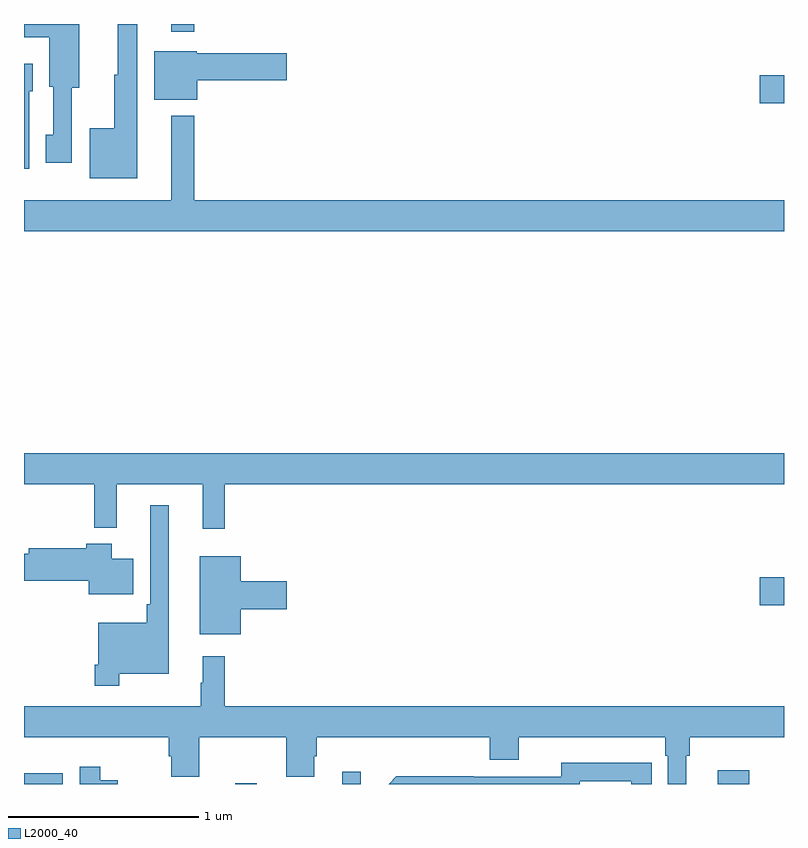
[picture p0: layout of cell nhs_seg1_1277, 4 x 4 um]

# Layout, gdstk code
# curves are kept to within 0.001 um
import gdstk
lib = gdstk.Library(unit=1e-6, precision=1e-09)
def R(c, l, rs):  # rectangles x0, y0, x1, y1
    for r in rs: c.add(gdstk.rectangle(r[:2], r[2:], *l))
def P(c, l, *ps):  # polygons
    for p in ps: c.add(gdstk.Polygon(p, *l))
L2000_40 = (2000, 40)

nhs_seg1_1277 = lib.new_cell('nhs_seg1_1277')
R(nhs_seg1_1277, L2000_40, [(181,506.199,181.203,506.256), (182.113,506.199,182.224,506.203), (182.675,506.199,182.772,506.263), (184.652,506.199,184.816,506.272), (184.872,507.14,185,507.287), (184.872,509.783,185,509.93), (181.775,510.159,181.897,510.199)])
P(nhs_seg1_1277, L2000_40, [(181.251,509.864),(181.291,509.864),(181.291,510.199),(181,510.199),(181,510.128),(181.133,510.128),(181.133,509.868),(181.155,509.868),(181.155,509.617),(181.115,509.617),(181.115,509.469),(181.251,509.469)],
  [(181.597,510.199),(181.493,510.199),(181.493,509.931),(181.475,509.931),(181.475,509.65),(181.346,509.65),(181.346,509.387),(181.597,509.387)],
  [(181.912,509.903),(182.383,509.903),(182.383,510.045),(181.908,510.045),(181.908,510.055),(181.685,510.055),(181.685,509.801),(181.912,509.801)],
  [(181.027,509.844),(181.045,509.844),(181.045,509.989),(181,509.989),(181,509.436),(181.027,509.436)],
  [(185,509.272),(181.897,509.272),(181.897,509.716),(181.775,509.716),(181.775,509.272),(181,509.272),(181,509.108),(185,509.108)],
  [(182.057,507.776),(185,507.776),(185,507.94),(181,507.94),(181,507.776),(181.369,507.776),(181.369,507.548),(181.487,507.548),(181.487,507.776),(181.94,507.776),(181.94,507.543),(182.057,507.543)],
  [(181.501,506.78),(181.762,506.78),(181.762,507.667),(181.665,507.667),(181.665,507.145),(181.645,507.145),(181.645,507.049),(181.392,507.049),(181.392,506.827),(181.372,506.827),(181.372,506.715),(181.501,506.715)],
  [(181.576,507.385),(181.462,507.385),(181.462,507.463),(181.328,507.463),(181.328,507.441),(181.025,507.441),(181.025,507.411),(181,507.411),(181,507.269),(181.34,507.269),(181.34,507.197),(181.576,507.197)],
  [(182.14,507.119),(182.383,507.119),(182.383,507.266),(182.14,507.266),(182.14,507.397),(181.925,507.397),(181.925,506.987),(182.14,506.987)],
  [(184.486,506.348),(184.505,506.348),(184.505,506.444),(185,506.444),(185,506.608),(182.057,506.608),(182.057,506.872),(181.94,506.872),(181.94,506.732),(181.929,506.732),(181.929,506.608),(181,506.608),(181,506.444),(181.763,506.444),(181.763,506.346),(181.775,506.346),(181.775,506.236),(181.923,506.236),(181.923,506.444),(182.38,506.444),(182.38,506.236),(182.527,506.236),(182.527,506.346),(182.54,506.346),(182.54,506.444),(183.452,506.444),(183.452,506.327),(183.604,506.327),(183.604,506.444),(184.376,506.444),(184.376,506.348),(184.389,506.348),(184.389,506.199),(184.486,506.199)],
  [(183.924,506.214),(184.196,506.214),(184.196,506.199),(184.304,506.199),(184.304,506.31),(183.828,506.311),(183.828,506.238),(183.368,506.238),(183.368,506.24),(182.96,506.24),(182.919,506.199),(183.924,506.199)],
  [(181.494,506.22),(181.402,506.22),(181.402,506.29),(181.293,506.29),(181.293,506.199),(181.494,506.199)])

lib.write_gds('nhs_seg1_1277.gds')
